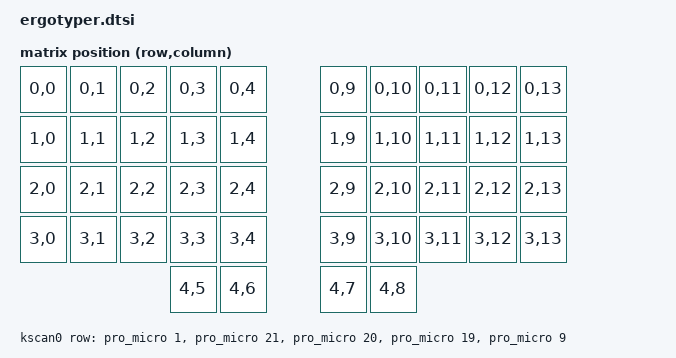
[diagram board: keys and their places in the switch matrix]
#include <dt-bindings/zmk/matrix_transform.h>
#include "ergotyper-layouts.dtsi"

&physical_layout0 {
    transform = <&default_transform>;
    kscan = <&kscan0>;
};

/ {
    default_transform: keymap_transform0 {
        compatible = "zmk,matrix-transform";
        columns = <14>;
        rows = <5>;
        map = <
            RC(0,0) RC(0,1) RC(0,2) RC(0,3) RC(0,4)   RC(0,9) RC(0,10) RC(0,11) RC(0,12) RC(0,13)
            RC(1,0) RC(1,1) RC(1,2) RC(1,3) RC(1,4)   RC(1,9) RC(1,10) RC(1,11) RC(1,12) RC(1,13)
            RC(2,0) RC(2,1) RC(2,2) RC(2,3) RC(2,4)   RC(2,9) RC(2,10) RC(2,11) RC(2,12) RC(2,13)
            RC(3,0) RC(3,1) RC(3,2) RC(3,3) RC(3,4)   RC(3,9) RC(3,10) RC(3,11) RC(3,12) RC(3,13)
                                    RC(4,5) RC(4,6)   RC(4,7) RC(4,8)
        >;
    };

    kscan0: kscan0 {
        compatible = "zmk,kscan-gpio-matrix";
        wakeup-source;
        
        diode-direction = "col2row";
        
        row-gpios
            = <&pro_micro 1 (GPIO_ACTIVE_HIGH | GPIO_PULL_DOWN)>
            , <&pro_micro 21 (GPIO_ACTIVE_HIGH | GPIO_PULL_DOWN)>
            , <&pro_micro 20 (GPIO_ACTIVE_HIGH | GPIO_PULL_DOWN)>
            , <&pro_micro 19 (GPIO_ACTIVE_HIGH | GPIO_PULL_DOWN)>
            , <&pro_micro 9 (GPIO_ACTIVE_HIGH | GPIO_PULL_DOWN)>
            ;
    };

    chosen {
        zmk,kscan = &kscan0;  // Make sure this is present!
        zmk,physical-layout = &physical_layout0;
    };
};
